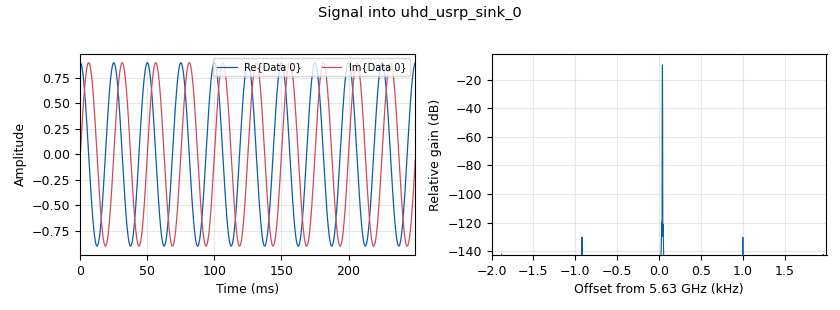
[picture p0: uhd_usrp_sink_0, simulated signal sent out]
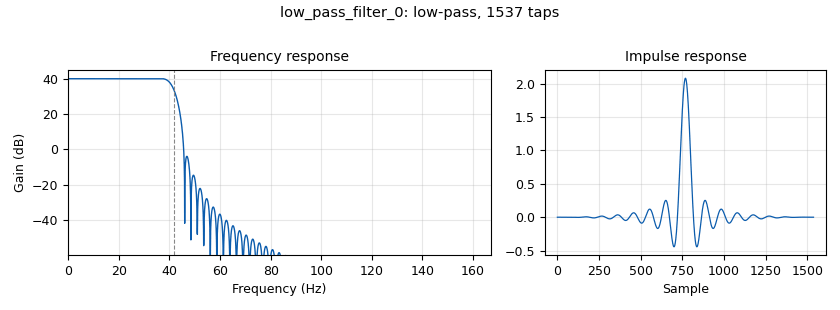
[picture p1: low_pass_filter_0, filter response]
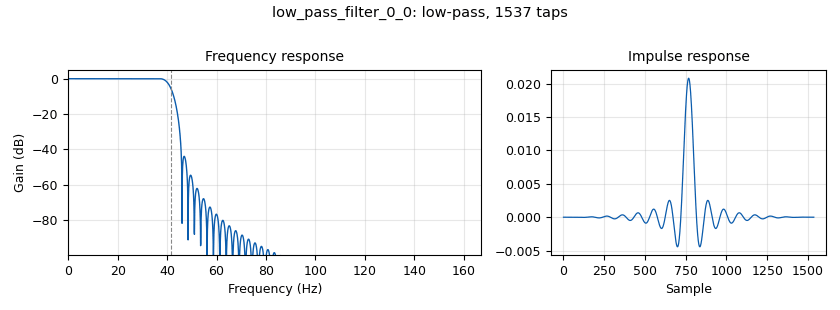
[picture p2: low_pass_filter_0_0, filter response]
options:
  parameters:
    generate_options: qt_gui
    id: PruebaFiltros
    output_language: python
    title: Prueba Filtros
  states: {}

blocks:
- name: HP_fre_after
  id: variable_qtgui_range
  parameters:
    start: '0'
    step: samp_rate/200
    stop: samp_rate/2
    value: samp_rate/2
  states: {state: disabled}
- name: LFP_fre_first
  id: variable_qtgui_range
  parameters:
    start: '0'
    step: samp_rate/200
    stop: samp_rate/2
    value: samp_rate/2
  states: {state: disabled}
- name: LP_fre
  id: variable_qtgui_range
  parameters:
    start: 1e3
    step: '100'
    stop: samp_rate/2
    value: '1025900'
  states: {state: disabled}
- name: amplitude
  id: variable
  parameters:
    value: '900e-3'
  states: {}
- name: decimRate
  id: variable
  parameters:
    value: '100'
  states: {}
- name: fft_size
  id: variable
  parameters:
    comment: |-
      Techo de la
      potencia más
      cercana
      o Límite
    value: min( int(2**np.ceil(np.log2(t*samp_rate))) , 2**15)
  states: {}
- name: freq
  id: variable
  parameters:
    value: 5.63e9
  states: {}
- name: freq_tone
  id: variable
  parameters:
    value: samp_rate/100
  states: {}
- name: max_fre_vital_signals
  id: variable
  parameters:
    value: 100/60
  states: {}
- name: n_periodos_tiempo
  id: variable
  parameters:
    value: int( np.ceil(  periodos_tiempo*samp_rate/freq_tone ) )
  states: {}
- name: periodos_tiempo
  id: variable
  parameters:
    value: '10'
  states: {}
- name: rx_gain
  id: variable_qtgui_range
  parameters:
    start: '0'
    step: '1'
    stop: '50'
    value: '43'
  states: {}
- name: samp_rate
  id: variable
  parameters:
    value: 4e3
  states: {}
- name: t
  id: variable
  parameters:
    comment: Seconds
    value: '8'
  states: {}
- name: tx_gain
  id: variable_qtgui_range
  parameters:
    start: '0'
    step: '1'
    stop: '50'
    value: '34'
  states: {}
- name: variable_0
  id: variable
  parameters:
    value: freq_tone+max_fre_vital_signals
  states: {}
- name: window_size
  id: variable
  parameters:
    value: '2048'
  states: {}
- name: analog_sig_source_x_0
  id: analog_sig_source_x
  parameters:
    amp: '900e-3'
    freq: freq_tone
    offset: '0'
    phase: '0'
    samp_rate: samp_rate
    type: complex
    waveform: analog.GR_SIN_WAVE
  states: {}
- name: blocks_complex_to_arg_0
  id: blocks_complex_to_arg
  parameters: {}
  states: {state: disabled}
- name: blocks_complex_to_arg_1
  id: blocks_complex_to_arg
  parameters: {}
  states: {}
- name: blocks_multiply_conjugate_cc_0
  id: blocks_multiply_conjugate_cc
  parameters: {}
  states: {state: disabled}
- name: blocks_multiply_xx_0
  id: blocks_multiply_xx
  parameters:
    type: complex
  states: {}
- name: filter_fft_low_pass_filter_0
  id: filter_fft_low_pass_filter
  parameters:
    cutoff_freq: LP_fre
    decim: '1'
    gain: '1'
    samp_rate: samp_rate
    type: ccc
    width: LP_fre/16
    win: window.WIN_HAMMING
  states: {state: disabled}
- name: high_pass_filter_0
  id: high_pass_filter
  parameters:
    cutoff_freq: HP_fre
    decim: '1'
    gain: '1'
    samp_rate: samp_rate
    type: fir_filter_ccf
    width: HP_fre/16
    win: window.WIN_HAMMING
  states: {state: disabled}
- name: import_0
  id: import
  parameters:
    imports: import numpy as np
  states: {}
- name: low_pass_filter_0
  id: low_pass_filter
  parameters:
    cutoff_freq: max_fre_vital_signals+freq_tone
    decim: '1'
    gain: '100'
    samp_rate: samp_rate
    type: fir_filter_ccf
    width: (max_fre_vital_signals+freq_tone)/8
    win: window.WIN_HANN
  states: {}
- name: low_pass_filter_0_0
  id: low_pass_filter
  parameters:
    cutoff_freq: freq_tone+max_fre_vital_signals
    decim: '1'
    gain: '1'
    samp_rate: samp_rate
    type: fir_filter_ccf
    width: (freq_tone+max_fre_vital_signals)/8
    win: window.WIN_HANN
  states: {}
- name: qtgui_freq_sink_x_0
  id: qtgui_freq_sink_x
  parameters:
    bw: samp_rate
    fc: '0'
    fftsize: '1024'
    name: '"Phase Frequency"'
    type: float
    wintype: window.WIN_HANN
  states: {state: disabled}
- name: qtgui_freq_sink_x_0_0
  id: qtgui_freq_sink_x
  parameters:
    bw: samp_rate
    fc: '0'
    fftsize: '1024'
    name: '"Input"'
    type: complex
    wintype: window.WIN_HANN
  states: {state: disabled}
- name: qtgui_time_sink_x_0
  id: qtgui_time_sink_x
  parameters:
    size: '5000'
    srate: '244.141'
    type: float
  states: {state: disabled}
- name: qtgui_time_sink_x_1
  id: qtgui_time_sink_x
  parameters:
    autoscale: 'True'
    name: '"Phase in time"'
    size: fft_size
    srate: samp_rate
    type: float
  states: {}
- name: qtgui_time_sink_x_2
  id: qtgui_time_sink_x
  parameters:
    nconnections: '2'
    size: n_periodos_tiempo
    srate: samp_rate
    type: complex
  states: {}
- name: rational_resampler_xxx_0
  id: rational_resampler_xxx
  parameters:
    decim: decimRate
    fbw: '400e-3'
    interp: '1'
    type: ccc
  states: {state: disabled}
- name: uhd_usrp_sink_0
  id: uhd_usrp_sink
  parameters:
    ant0: '"TX/RX"'
    bw0: samp_rate
    center_freq0: freq
    gain0: tx_gain
    samp_rate: samp_rate
    sync: sync
    type: fc32
  states: {}
- name: uhd_usrp_source_0
  id: uhd_usrp_source
  parameters:
    ant0: '"RX2"'
    center_freq0: freq
    gain0: rx_gain
    samp_rate: samp_rate
    sync: none
    type: fc32
  states: {}
- name: virtual_sink_0
  id: virtual_sink
  parameters:
    stream_id: fre_out
  states: {}
- name: virtual_source_0
  id: virtual_source
  parameters:
    stream_id: fre_out
  states: {}
- name: virtual_source_0_0
  id: virtual_source
  parameters:
    stream_id: fre_out
  states: {}

connections:
- [analog_sig_source_x_0, '0', uhd_usrp_sink_0, '0']
- [analog_sig_source_x_0, '0', virtual_sink_0, '0']
- [blocks_complex_to_arg_0, '0', qtgui_time_sink_x_0, '0']
- [blocks_complex_to_arg_1, '0', qtgui_freq_sink_x_0, '0']
- [blocks_complex_to_arg_1, '0', qtgui_time_sink_x_1, '0']
- [blocks_multiply_conjugate_cc_0, '0', rational_resampler_xxx_0, '0']
- [blocks_multiply_xx_0, '0', low_pass_filter_0_0, '0']
- [low_pass_filter_0, '0', blocks_multiply_xx_0, '0']
- [low_pass_filter_0, '0', qtgui_time_sink_x_2, '0']
- [low_pass_filter_0_0, '0', blocks_complex_to_arg_1, '0']
- [rational_resampler_xxx_0, '0', blocks_complex_to_arg_0, '0']
- [uhd_usrp_source_0, '0', low_pass_filter_0, '0']
- [uhd_usrp_source_0, '0', qtgui_freq_sink_x_0_0, '0']
- [virtual_source_0, '0', blocks_multiply_xx_0, '1']
- [virtual_source_0_0, '0', qtgui_time_sink_x_2, '1']

metadata:
  file_format: 1
  grc_version: 3.10.8.0
